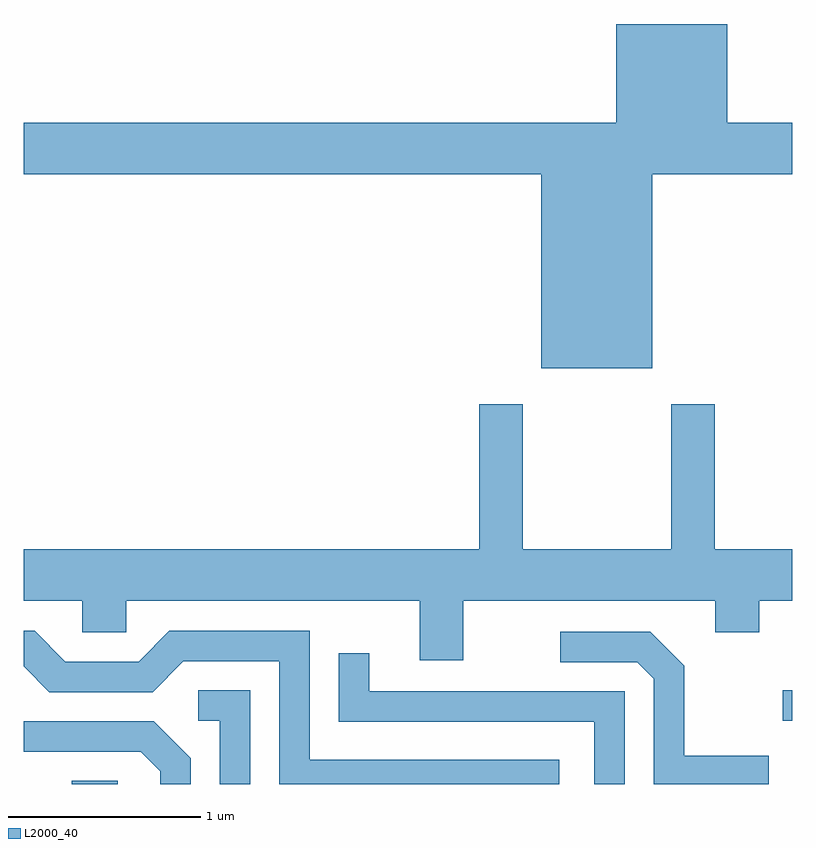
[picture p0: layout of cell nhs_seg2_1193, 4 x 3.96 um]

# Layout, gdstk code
import gdstk
lib = gdstk.Library(unit=1e-6, precision=1e-09)
def R(c, l, rs):  # rectangles x0, y0, x1, y1
    for r in rs: c.add(gdstk.rectangle(r[:2], r[2:], *l))
def P(c, l, *ps):  # polygons
    for p in ps: c.add(gdstk.Polygon(p, *l))
L2000_40 = (2000, 40)

nhs_seg2_1193 = lib.new_cell('nhs_seg2_1193')
R(nhs_seg2_1193, L2000_40, [(219.861,1051.802,220.099,1051.819), (223.563,1052.131,223.611,1052.289)])
P(nhs_seg2_1193, L2000_40, [(222.884,1054.976),(223.611,1054.976),(223.611,1055.244),(223.274,1055.244),(223.274,1055.759),(222.696,1055.759),(222.696,1055.244),(219.611,1055.244),(219.611,1054.976),(222.306,1054.976),(222.306,1053.966),(222.884,1053.966)],
  [(221.899,1052.756),(223.211,1052.756),(223.211,1052.591),(223.439,1052.591),(223.439,1052.756),(223.611,1052.756),(223.611,1053.024),(223.209,1053.024),(223.209,1053.779),(222.981,1053.779),(222.981,1053.024),(222.209,1053.024),(222.209,1053.779),(221.981,1053.779),(221.981,1053.024),(219.611,1053.024),(219.611,1052.756),(219.916,1052.756),(219.916,1052.591),(220.144,1052.591),(220.144,1052.756),(221.671,1052.756),(221.671,1052.446),(221.899,1052.446)],
  [(222.399,1051.929),(221.099,1051.929),(221.099,1052.599),(220.369,1052.599),(220.209,1052.439),(219.827,1052.439),(219.667,1052.599),(219.611,1052.599),(219.611,1052.414),(219.744,1052.281),(220.282,1052.281),(220.442,1052.441),(220.941,1052.441),(220.941,1051.802),(222.399,1051.802)],
  [(223.489,1051.949),(223.049,1051.949),(223.049,1052.417),(222.872,1052.594),(222.403,1052.594),(222.403,1052.436),(222.804,1052.436),(222.891,1052.349),(222.891,1051.802),(223.489,1051.802)],
  [(222.739,1052.284),(221.409,1052.284),(221.409,1052.483),(221.251,1052.483),(221.251,1052.126),(222.581,1052.126),(222.581,1051.802),(222.739,1051.802)],
  [(220.789,1052.289),(220.518,1052.289),(220.518,1052.131),(220.631,1052.131),(220.631,1051.802),(220.789,1051.802)],
  [(220.479,1051.937),(220.287,1052.129),(219.611,1052.129),(219.611,1051.971),(220.219,1051.971),(220.321,1051.869),(220.321,1051.802),(220.479,1051.802)])

lib.write_gds('nhs_seg2_1193.gds')
